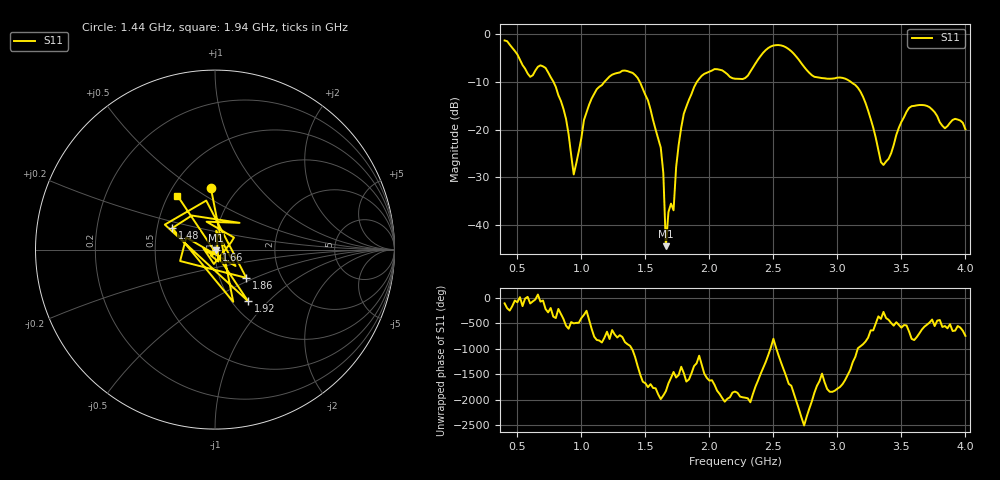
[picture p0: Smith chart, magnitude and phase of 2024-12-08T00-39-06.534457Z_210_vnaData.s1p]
!Created with skrf (http://scikit-rf.org).
# Hz S RI R 50.0
!freq ReS11 ImS11
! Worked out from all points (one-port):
!   181 points, 400 MHz to 4 GHz, reference 50 ohm
!   lowest |S11| = -44.4 dB at 1.66 GHz (marker M1), VSWR 1.01, Z = 50.5 - j0.307 ohm
!   |S11| at or under -10 dB: 781.4 MHz to 1.18 GHz (399.1 MHz wide, 40.7 % of centre); 1.455 GHz to 1.903 GHz (447.5 MHz wide, 26.6 % of centre); 3.104 GHz to end of sweep
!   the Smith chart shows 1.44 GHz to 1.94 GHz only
!   S11 on the Smith chart (normalised r, x): 1.44 GHz: 0.75, +0.59; 1.48 GHz: 0.60, +0.16; 1.66 GHz: 1.01, -0.01; 1.86 GHz: 1.34, -0.45; 1.92 GHz: 1.18, -0.76; 1.94 GHz: 0.56, +0.39
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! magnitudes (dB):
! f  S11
! 400 MHz  -1.3
! 600 MHz  -9.0
! 720 MHz  -7.1
! 860 MHz  -15.7
! 940 MHz  -29.4
! 1.02 GHz  -18.0
! 1.08 GHz  -13.5
! 1.3 GHz  -8.0
! 1.44 GHz  -9.2
! 1.48 GHz  -11.5
! 1.62 GHz  -23.8
! 1.64 GHz  -29.1
! 1.66 GHz  -44.4
! 1.68 GHz  -37.3
! 1.72 GHz  -36.9
! 1.76 GHz  -23.2
! 1.86 GHz  -12.6
! 1.92 GHz  -9.4
! 1.94 GHz  -8.7
! 2.2 GHz  -9.4
! 2.48 GHz  -2.6
! 2.66 GHz  -4.2
! 2.82 GHz  -9.0
! 3.1 GHz  -9.9
! 3.22 GHz  -14.5
! 3.36 GHz  -27.4
! 3.56 GHz  -15.5
! 4 GHz  -19.9
